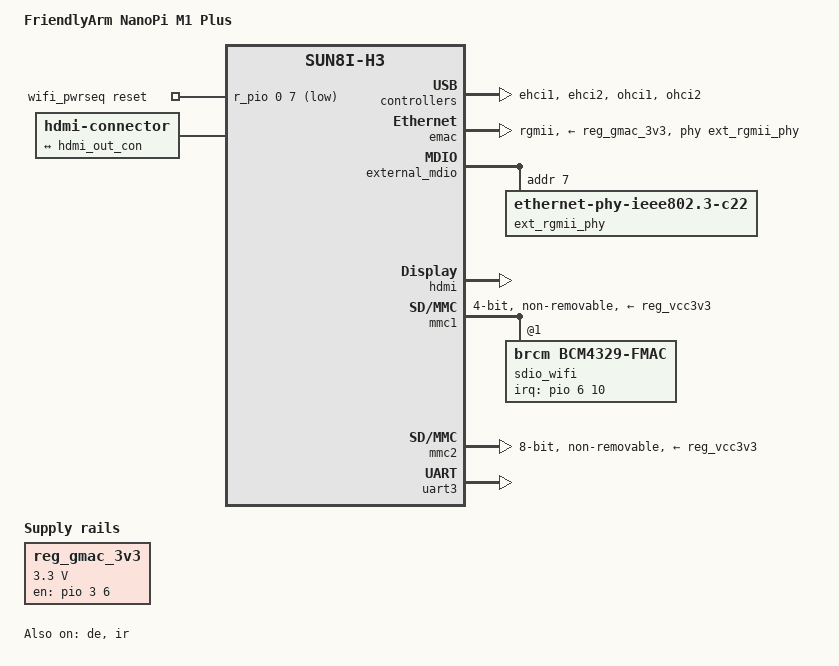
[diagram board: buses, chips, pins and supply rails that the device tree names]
/*
 * Copyright (C) 2017 Jagan Teki <jteki@openedev.com>
 *
 * This file is dual-licensed: you can use it either under the terms
 * of the GPL or the X11 license, at your option. Note that this dual
 * licensing only applies to this file, and not this project as a
 * whole.
 *
 *  a) This file is free software; you can redistribute it and/or
 *     modify it under the terms of the GNU General Public License as
 *     published by the Free Software Foundation; either version 2 of the
 *     License, or (at your option) any later version.
 *
 *     This file is distributed in the hope that it will be useful,
 *     but WITHOUT ANY WARRANTY; without even the implied warranty of
 *     MERCHANTABILITY or FITNESS FOR A PARTICULAR PURPOSE.  See the
 *     GNU General Public License for more details.
 *
 * Or, alternatively,
 *
 *  b) Permission is hereby granted, free of charge, to any person
 *     obtaining a copy of this software and associated documentation
 *     files (the "Software"), to deal in the Software without
 *     restriction, including without limitation the rights to use,
 *     copy, modify, merge, publish, distribute, sublicense, and/or
 *     sell copies of the Software, and to permit persons to whom the
 *     Software is furnished to do so, subject to the following
 *     conditions:
 *
 *     The above copyright notice and this permission notice shall be
 *     included in all copies or substantial portions of the Software.
 *
 *     THE SOFTWARE IS PROVIDED "AS IS", WITHOUT WARRANTY OF ANY KIND,
 *     EXPRESS OR IMPLIED, INCLUDING BUT NOT LIMITED TO THE WARRANTIES
 *     OF MERCHANTABILITY, FITNESS FOR A PARTICULAR PURPOSE AND
 *     NONINFRINGEMENT. IN NO EVENT SHALL THE AUTHORS OR COPYRIGHT
 *     HOLDERS BE LIABLE FOR ANY CLAIM, DAMAGES OR OTHER LIABILITY,
 *     WHETHER IN AN ACTION OF CONTRACT, TORT OR OTHERWISE, ARISING
 *     FROM, OUT OF OR IN CONNECTION WITH THE SOFTWARE OR THE USE OR
 *     OTHER DEALINGS IN THE SOFTWARE.
 */

#include "sun8i-h3-nanopi.dtsi"

/ {
	model = "FriendlyArm NanoPi M1 Plus";
	compatible = "friendlyarm,nanopi-m1-plus", "allwinner,sun8i-h3";

	aliases {
		serial1 = &uart3;
		ethernet0 = &emac;
		ethernet1 = &sdio_wifi;
	};

	reg_gmac_3v3: gmac-3v3 {
		compatible = "regulator-fixed";
		regulator-name = "gmac-3v3";
		regulator-min-microvolt = <3300000>;
		regulator-max-microvolt = <3300000>;
		startup-delay-us = <100000>;
		enable-active-high;
		gpio = <&pio 3 6 GPIO_ACTIVE_HIGH>;
	};

	wifi_pwrseq: wifi_pwrseq {
		compatible = "mmc-pwrseq-simple";
		pinctrl-names = "default";
		reset-gpios = <&r_pio 0 7 GPIO_ACTIVE_LOW>; /* PL7 */
	};

	connector {
		compatible = "hdmi-connector";
		type = "a";

		port {
			hdmi_con_in: endpoint {
				remote-endpoint = <&hdmi_out_con>;
			};
		};
	};
};

&de {
	status = "okay";
};

&ehci1 {
	status = "okay";
};

&ehci2 {
	status = "okay";
};

&emac {
	pinctrl-names = "default";
	pinctrl-0 = <&emac_rgmii_pins>;
	phy-supply = <&reg_gmac_3v3>;
	phy-handle = <&ext_rgmii_phy>;
	phy-mode = "rgmii";

	status = "okay";
};

&external_mdio {
	ext_rgmii_phy: ethernet-phy@1 {
		compatible = "ethernet-phy-ieee802.3-c22";
		reg = <7>;
	};
};

&hdmi {
	status = "okay";
};

&hdmi_out {
	hdmi_out_con: endpoint {
		remote-endpoint = <&hdmi_con_in>;
	};
};

&ir {
	pinctrl-names = "default";
	pinctrl-0 = <&ir_pins_a>;
	status = "okay";
};

&mmc1 {
	vmmc-supply = <&reg_vcc3v3>;
	vqmmc-supply = <&reg_vcc3v3>;
	mmc-pwrseq = <&wifi_pwrseq>;
	bus-width = <4>;
	non-removable;
	status = "okay";

	sdio_wifi: sdio_wifi@1 {
		reg = <1>;
		compatible = "brcm,bcm4329-fmac";
		interrupt-parent = <&pio>;
		interrupts = <6 10 IRQ_TYPE_LEVEL_LOW>; /* PG10 / EINT10 */
		interrupt-names = "host-wake";
	};
};

&mmc2 {
	pinctrl-names = "default";
	pinctrl-0 = <&mmc2_8bit_pins>;
	vmmc-supply = <&reg_vcc3v3>;
	vqmmc-supply = <&reg_vcc3v3>;
	bus-width = <8>;
	non-removable;
	status = "okay";
};

&ohci1 {
	status = "okay";
};

&ohci2 {
	status = "okay";
};

&uart3 {
	pinctrl-names = "default";
	pinctrl-0 = <&uart3_pins>, <&uart3_rts_cts_pins>;
	status = "okay";
};
